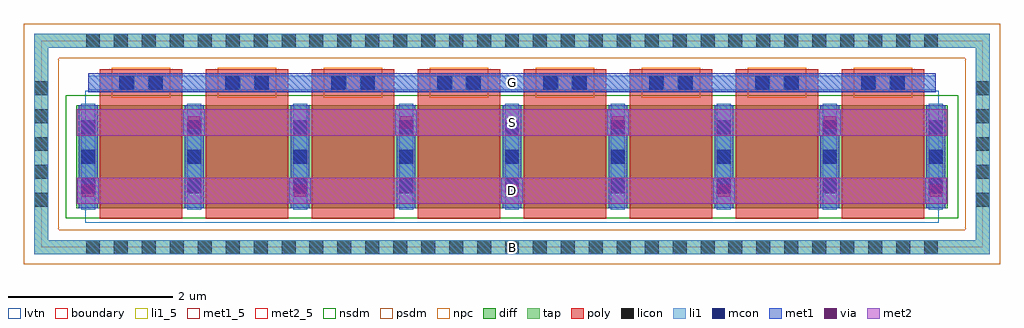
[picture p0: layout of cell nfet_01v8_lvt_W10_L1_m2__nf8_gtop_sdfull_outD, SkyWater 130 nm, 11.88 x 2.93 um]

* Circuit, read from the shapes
.subckt nfet_01v8_lvt_W10_L1_m2__nf8_gtop_sdfull_outD B D G S
XM1 S G D B sky130_fd_pr__nfet_01v8_lvt w=1.25 l=1 m=8
.ends

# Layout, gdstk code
import gdstk
lib = gdstk.Library(unit=1e-6, precision=1e-09)
def R(c, l, rs):  # rectangles x0, y0, x1, y1
    for r in rs: c.add(gdstk.rectangle(r[:2], r[2:], *l))
def A(c, l, x, y, w, h, nx, ny, dx, dy):  # array of equal rectangles
    R(c, l, [(x+i*dx, y+j*dy, x+i*dx+w, y+j*dy+h) for i in range(nx) for j in range(ny)])
diff = (65, 20)
tap = (65, 44)
poly = (66, 20)
licon = (66, 44)
li1_5 = (67, 5)
li1 = (67, 20)
mcon = (67, 44)
met1_5 = (68, 5)
met1 = (68, 20)
via = (68, 44)
met2_5 = (69, 5)
met2 = (69, 20)
nsdm = (93, 44)
psdm = (94, 20)
npc = (95, 20)
lvtn = (125, 44)
boundary = (235, 4)

sky130_fd_pr__nfet_01v8_ = lib.new_cell('sky130_fd_pr__nfet_01v8_lvt_E5UCWF')
R(sky130_fd_pr__nfet_01v8_, diff, [(-5.305,-0.78,5.305,0.47)])
R(sky130_fd_pr__nfet_01v8_, tap, [(-5.815,-1.34,5.815,-1.17), (-5.815,-1.17,-5.645,1.17), (5.645,-1.17,5.815,1.17), (-5.815,1.17,5.815,1.34)])
A(sky130_fd_pr__nfet_01v8_, poly, -5.015, -0.91, 1, 1.82, 8, 1, 1.29, 0)
A(sky130_fd_pr__nfet_01v8_, licon, -5.185, -1.34, 0.17, 0.17, 31, 2, 0.34, 2.51)
A(sky130_fd_pr__nfet_01v8_, licon, -5.815, -0.765, 0.17, 0.17, 1, 5, 0, 0.34)
A(sky130_fd_pr__nfet_01v8_, licon, 5.645, -0.765, 0.17, 0.17, 1, 5, 0, 0.34)
A(sky130_fd_pr__nfet_01v8_, licon, -5.245, -0.58, 0.17, 0.17, 9, 3, 1.29, 0.34)
R(sky130_fd_pr__nfet_01v8_, licon, [(-4.77,0.66,-4.6,0.83), (-4.43,0.66,-4.26,0.83), (-3.48,0.66,-3.31,0.83), (-3.14,0.66,-2.97,0.83), (-2.19,0.66,-2.02,0.83), (-1.85,0.66,-1.68,0.83), (-0.9,0.66,-0.73,0.83), (-0.56,0.66,-0.39,0.83), (0.39,0.66,0.56,0.83), (0.73,0.66,0.9,0.83), (1.68,0.66,1.85,0.83), (2.02,0.66,2.19,0.83), (2.97,0.66,3.14,0.83), (3.31,0.66,3.48,0.83), (4.26,0.66,4.43,0.83), (4.6,0.66,4.77,0.83)])
A(sky130_fd_pr__nfet_01v8_, li1, -5.245, -0.8, 0.17, 1.29, 9, 1, 1.29, 0)
R(sky130_fd_pr__nfet_01v8_, li1, [(-5.815,-1.34,5.815,-1.17), (-5.815,-1.17,-5.645,1.17), (5.645,-1.17,5.815,1.17), (-5.16,0.66,5.16,0.83), (-5.815,1.17,5.815,1.34)])
A(sky130_fd_pr__nfet_01v8_, mcon, -5.245, -0.6, 0.17, 0.17, 9, 3, 1.29, 0.36)
R(sky130_fd_pr__nfet_01v8_, mcon, [(-4.78,0.66,-4.61,0.83), (-4.42,0.66,-4.25,0.83), (-3.49,0.66,-3.32,0.83), (-3.13,0.66,-2.96,0.83), (-2.2,0.66,-2.03,0.83), (-1.84,0.66,-1.67,0.83), (-0.91,0.66,-0.74,0.83), (-0.55,0.66,-0.38,0.83), (0.38,0.66,0.55,0.83), (0.74,0.66,0.91,0.83), (1.67,0.66,1.84,0.83), (2.03,0.66,2.2,0.83), (2.96,0.66,3.13,0.83), (3.32,0.66,3.49,0.83), (4.25,0.66,4.42,0.83), (4.61,0.66,4.78,0.83)])
A(sky130_fd_pr__nfet_01v8_, met1, -5.275, -0.78, 0.23, 1.25, 9, 1, 1.29, 0)
A(sky130_fd_pr__nfet_01v8_, met1, -4.995, 0.63, 0.96, 0.03, 8, 2, 1.29, 0.2)
R(sky130_fd_pr__nfet_01v8_, met1, [(-5.16,0.66,5.16,0.83)])
R(sky130_fd_pr__nfet_01v8_, nsdm, [(-5.43,-0.905,5.43,0.595)])
R(sky130_fd_pr__nfet_01v8_, psdm, [(-5.94,-1.465,5.94,-1.045), (-5.94,-1.045,-5.52,1.045), (5.52,-1.045,5.94,1.045), (-5.94,1.045,5.94,1.465)])
A(sky130_fd_pr__nfet_01v8_, npc, -4.87, 0.56, 0.71, 0.37, 8, 1, 1.29, 0)
R(sky130_fd_pr__nfet_01v8_, lvtn, [(-5.195,-0.96,5.195,0.65)])
R(sky130_fd_pr__nfet_01v8_, boundary, [(-5.73,-1.255,5.73,1.255)])
sky130_fd_pr__nfet_01v8_.add(gdstk.Label('B', (0,-1.255), layer=67, texttype=5))
sky130_fd_pr__nfet_01v8_.add(gdstk.Label('D0', (-5.16,-0.155), layer=67, texttype=5))
sky130_fd_pr__nfet_01v8_.add(gdstk.Label('G', (4.515,0.745), layer=67, texttype=5))
sky130_fd_pr__nfet_01v8_.add(gdstk.Label('G', (3.225,0.745), layer=67, texttype=5))
sky130_fd_pr__nfet_01v8_.add(gdstk.Label('G', (1.935,0.745), layer=67, texttype=5))
sky130_fd_pr__nfet_01v8_.add(gdstk.Label('G', (0.645,0.745), layer=67, texttype=5))
sky130_fd_pr__nfet_01v8_.add(gdstk.Label('G', (-0.645,0.745), layer=67, texttype=5))
sky130_fd_pr__nfet_01v8_.add(gdstk.Label('G', (-1.935,0.745), layer=67, texttype=5))
sky130_fd_pr__nfet_01v8_.add(gdstk.Label('G', (-3.225,0.745), layer=67, texttype=5))
sky130_fd_pr__nfet_01v8_.add(gdstk.Label('G', (-4.515,0.745), layer=67, texttype=5))
sky130_fd_pr__nfet_01v8_.add(gdstk.Label('S1', (-3.87,-0.155), layer=67, texttype=5))
sky130_fd_pr__nfet_01v8_.add(gdstk.Label('D2', (-2.58,-0.155), layer=67, texttype=5))
sky130_fd_pr__nfet_01v8_.add(gdstk.Label('S3', (-1.29,-0.155), layer=67, texttype=5))
sky130_fd_pr__nfet_01v8_.add(gdstk.Label('D4', (0,-0.155), layer=67, texttype=5))
sky130_fd_pr__nfet_01v8_.add(gdstk.Label('S5', (1.29,-0.155), layer=67, texttype=5))
sky130_fd_pr__nfet_01v8_.add(gdstk.Label('D6', (2.58,-0.155), layer=67, texttype=5))
sky130_fd_pr__nfet_01v8_.add(gdstk.Label('S7', (3.87,-0.155), layer=67, texttype=5))

nfet_01v8_lvt_w10_l1_m2_ = lib.new_cell('nfet_01v8_lvt_W10_L1_m2__nf8_gtop_sdfull_outD')
R(nfet_01v8_lvt_w10_l1_m2_, li1_5, [(5.645,-0.085,5.815,0.085)])
R(nfet_01v8_lvt_w10_l1_m2_, li1, [(5.645,-0.085,5.815,0.085)])
R(nfet_01v8_lvt_w10_l1_m2_, met1_5, [(0.57,1.885,10.89,2.115)])
A(nfet_01v8_lvt_w10_l1_m2_, met1, 0.44, 0.525, 0.26, 0.32, 5, 1, 2.58, 0)
A(nfet_01v8_lvt_w10_l1_m2_, met1, 1.73, 1.355, 0.26, 0.32, 4, 1, 2.58, 0)
R(nfet_01v8_lvt_w10_l1_m2_, met1, [(0.57,1.885,10.89,2.115)])
A(nfet_01v8_lvt_w10_l1_m2_, via, 0.495, 0.61, 0.15, 0.15, 5, 1, 2.58, 0)
A(nfet_01v8_lvt_w10_l1_m2_, via, 1.785, 1.44, 0.15, 0.15, 4, 1, 2.58, 0)
R(nfet_01v8_lvt_w10_l1_m2_, met2_5, [(0.435,0.525,11.025,0.845), (0.435,1.355,11.025,1.675)])
R(nfet_01v8_lvt_w10_l1_m2_, met2, [(0.435,0.525,11.025,0.845), (0.435,1.355,11.025,1.675)])
nfet_01v8_lvt_w10_l1_m2_.add(gdstk.Reference(sky130_fd_pr__nfet_01v8_, (5.73,1.255)))
nfet_01v8_lvt_w10_l1_m2_.add(gdstk.Label('S', (5.73,1.515), layer=69, texttype=5))
nfet_01v8_lvt_w10_l1_m2_.add(gdstk.Label('D', (5.73,0.685), layer=69, texttype=5))
nfet_01v8_lvt_w10_l1_m2_.add(gdstk.Label('G', (5.73,2), layer=68, texttype=5))
nfet_01v8_lvt_w10_l1_m2_.add(gdstk.Label('B', (5.73,0), layer=67, texttype=5))

lib.write_gds('nfet_01v8_lvt_W10_L1_m2__nf8_gtop_sdfull_outD.gds')
